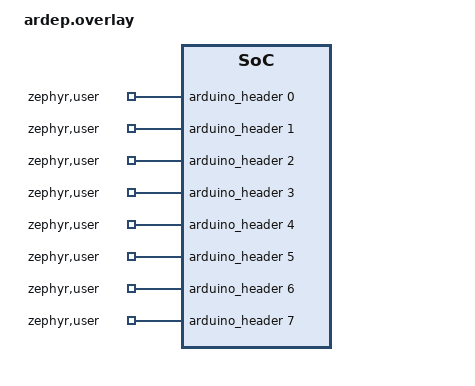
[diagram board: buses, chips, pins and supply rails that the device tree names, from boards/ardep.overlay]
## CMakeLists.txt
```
# SPDX-FileCopyrightText: Copyright (C) Frickly Systems GmbH
# SPDX-FileCopyrightText: Copyright (C) MBition GmbH
#
# SPDX-License-Identifier: Apache-2.0

cmake_minimum_required(VERSION 3.13.1)

find_package(Zephyr REQUIRED HINTS $ENV{ZEPHYR_BASE})
project(gpio_expander)

target_sources(app PRIVATE src/main.c)
```

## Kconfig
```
# Copyright (C) Frickly Systems GmbH
# Copyright (C) MBition GmbH
#
# SPDX-License-Identifier: Apache-2.0



mainmenu "GPIO Exapnder"

config GPIO_EXPANDER_CONFIG_FRAME_ID
	int "frame id for the configuration frame"
	default 1

config GPIO_EXPANDER_WRITE_FRAME_ID
	int "frame id for the write frame"
	default 2

config GPIO_EXPANDER_STATE_FRAME_ID
	int "frame id for the state frame"
	default 3


menu "Zephyr"
source "Kconfig.zephyr"
endmenu

module = APP
module-str = APP
source "subsys/logging/Kconfig.template.log_config"
```

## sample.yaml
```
# Copyright (C) Frickly Systems GmbH
# Copyright (C) MBition GmbH

# This file is provided so that the application can be compiled using Twister,
# the Zephyr testing tool. In this file, multiple combinations can be specified,
# so that you can easily test all of them locally or in CI.
sample:
  description: gpio expander 
  name: gpio-expander
common:
  build_only: true
  integration_platforms:
    - ardep
tests:
  gpio_expander.default: {}
```

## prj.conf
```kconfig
CONFIG_CONSOLE=y

CONFIG_SERIAL=y
CONFIG_UART_CONSOLE=y

CONFIG_CAN=y

CONFIG_LOG=y
CONFIG_APP_LOG_LEVEL_DBG=y
```

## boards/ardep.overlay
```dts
/*
 * SPDX-FileCopyrightText: Copyright (C) Frickly Systems GmbH
 * SPDX-FileCopyrightText: Copyright (C) MBition GmbH
 *
 * SPDX-License-Identifier: Apache-2.0
 */

/ {
    zephyr,user {
        gpios = <&arduino_header 0 GPIO_ACTIVE_HIGH>,
                <&arduino_header 1 GPIO_ACTIVE_HIGH>,
                <&arduino_header 2 GPIO_ACTIVE_HIGH>,
                <&arduino_header 3 GPIO_ACTIVE_HIGH>,
                <&arduino_header 4 GPIO_ACTIVE_HIGH>,
                <&arduino_header 5 GPIO_ACTIVE_HIGH>,
                <&arduino_header 6 GPIO_ACTIVE_HIGH>,
                <&arduino_header 7 GPIO_ACTIVE_HIGH>,
                <&arduino_header 8 GPIO_ACTIVE_HIGH>,
                <&arduino_header 9 GPIO_ACTIVE_HIGH>,
                <&arduino_header 10 GPIO_ACTIVE_HIGH>,
                <&arduino_header 11 GPIO_ACTIVE_HIGH>,
                <&arduino_header 12 GPIO_ACTIVE_HIGH>,
                <&arduino_header 13 GPIO_ACTIVE_HIGH>,
                <&arduino_header 14 GPIO_ACTIVE_HIGH>,
                <&arduino_header 15 GPIO_ACTIVE_HIGH>,
                <&arduino_header 16 GPIO_ACTIVE_HIGH>,
                <&arduino_header 17 GPIO_ACTIVE_HIGH>,
                <&arduino_header 18 GPIO_ACTIVE_HIGH>,
                <&arduino_header 19 GPIO_ACTIVE_HIGH>,
                <&arduino_header 20 GPIO_ACTIVE_HIGH>,
                <&arduino_header 21 GPIO_ACTIVE_HIGH>,
                
                <&gpioe 15 GPIO_ACTIVE_HIGH>, // HV Shield 1
                <&gpioe 14 GPIO_ACTIVE_HIGH>,
                <&gpioe 13 GPIO_ACTIVE_HIGH>,
                <&gpioe 12 GPIO_ACTIVE_HIGH>, // HV 4
                <&gpioe 11 GPIO_ACTIVE_HIGH>, // HV 7
                <&gpioe 10 GPIO_ACTIVE_HIGH>, 
                <&gpioe 9 GPIO_ACTIVE_HIGH>,
                <&gpioe 8 GPIO_ACTIVE_HIGH>,
                <&gpioe 7 GPIO_ACTIVE_HIGH>, 
                <&gpiob 2 GPIO_ACTIVE_HIGH>,
                <&gpiob 1 GPIO_ACTIVE_HIGH>,
                <&gpioc 5 GPIO_ACTIVE_HIGH>, // HV 14
                <&gpioc 4 GPIO_ACTIVE_HIGH>, // HV 17
                <&gpioa 6 GPIO_ACTIVE_HIGH>, // HV 19
                <&gpioa 5 GPIO_ACTIVE_HIGH>,
                <&gpioa 4 GPIO_ACTIVE_HIGH>,
                <&gpioa 2 GPIO_ACTIVE_HIGH>,
                <&gpioa 0 GPIO_ACTIVE_HIGH>,
                <&gpiof 2 GPIO_ACTIVE_HIGH>,
                <&gpioc 2 GPIO_ACTIVE_HIGH>,
                <&gpioc 0 GPIO_ACTIVE_HIGH>, // HV 26
                <&gpiof 10 GPIO_ACTIVE_HIGH>, // HV 29
                <&gpiof 9 GPIO_ACTIVE_HIGH>,
                <&gpioc 15 GPIO_ACTIVE_HIGH>,
                <&gpioc 14 GPIO_ACTIVE_HIGH> // HV 3
                ;
    };
};

&arduino_i2c {
    status = "disabled";
};

&arduino_spi {
    status = "disabled";
};

&arduino_serial {
    status = "disabled";
};

&adc1 {
    status = "disabled";
};

&adc2 {
    status = "disabled";
};

&adc3 {
    status = "disabled";
};

&adc4 {
    status = "disabled";
};

&dac1 {
    status = "disabled";
};

&dac2 {
    status = "disabled";
};
```

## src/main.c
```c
/*
 * SPDX-FileCopyrightText: Copyright (C) Frickly Systems GmbH
 * SPDX-FileCopyrightText: Copyright (C) MBition GmbH
 *
 * SPDX-License-Identifier: Apache-2.0
 */

#include <zephyr/device.h>
#include <zephyr/devicetree.h>
#include <zephyr/drivers/can.h>
#include <zephyr/drivers/gpio.h>
#include <zephyr/kernel.h>
#include <zephyr/logging/log.h>

#define LOG_MODULE_NAME app
LOG_MODULE_REGISTER(LOG_MODULE_NAME, CONFIG_APP_LOG_LEVEL);

#define CANBUS_NODE DT_CHOSEN(zephyr_canbus)

#define GPIO_CONFIG_FRAME_ID CONFIG_GPIO_EXPANDER_CONFIG_FRAME_ID
#define GPIO_STATE_FRAME_ID CONFIG_GPIO_EXPANDER_STATE_FRAME_ID
#define GPIO_WRITE_FRAME_ID CONFIG_GPIO_EXPANDER_WRITE_FRAME_ID

#define ZEPHYR_USER_NODE DT_PATH(zephyr_user)

static const struct gpio_dt_spec gpios[] = {
  // all gpios defined in the zephyr_user node
  DT_FOREACH_PROP_ELEM_SEP(
      ZEPHYR_USER_NODE, gpios, GPIO_DT_SPEC_GET_BY_IDX, (, ))};

static uint8_t config_frame_data[8] = {0};
struct k_work configure_gpios_work;

bool is_gpio_output(int pin) {
  return (config_frame_data[pin / 8] >> (pin % 8)) & 0x01;
}

static uint8_t write_frame_data[8] = {0};
struct k_work write_gpios_work;

int output_level(int pin) {
  return (write_frame_data[pin / 8] >> (pin % 8)) & 0x01;
}

int init_can(const struct device *can_dev) {
  int err;

  if (!device_is_ready(can_dev)) {
    LOG_ERR("CAN device not ready");
    return -ENODEV;
  }

  err = can_start(can_dev);
  if (err != 0) {
    LOG_ERR("Error starting CAN controller (err %d)", err);
    return err;
  }

  return 0;
}

struct k_sem tx_queue_sem;

static void can_tx_callback(const struct device *dev,
                            int error,
                            void *user_data) {
  struct k_sem *tx_queue_sem = user_data;

  k_sem_give(tx_queue_sem);
}

int send_state_update_frame(const struct device *can_dev) {
  struct can_frame frame = {0};

  frame.id = GPIO_STATE_FRAME_ID;

  memset(frame.data, 0, sizeof(frame.data));

  for (int i = 0; i < ARRAY_SIZE(gpios); i++) {
    if (is_gpio_output(i)) {
      frame.data[i / 8] |= (output_level(i) << (i % 8));
    } else {
      int value = gpio_pin_get_dt(&gpios[i]);

      if (value < 0) {
        LOG_ERR("Error reading GPIO pin (err %d)", value);
        return value;
      }

      frame.data[i / 8] |= (value << (i % 8));
    }
  }

  frame.dlc = 8;

  return can_send(can_dev, &frame, K_NO_WAIT, can_tx_callback, &tx_queue_sem);
}

const struct can_filter receive_config_filter = {
  .flags = 0,
  .id = GPIO_CONFIG_FRAME_ID,
  .mask = CAN_STD_ID_MASK,
};

void receive_config_callback(const struct device *dev,
                             struct can_frame *frame,
                             void *user_data) {
  memcpy(config_frame_data, frame->data, frame->dlc);
  k_work_submit(&configure_gpios_work);
}

void configure_gpios(struct k_work *item) {
  LOG_INF("Configuring GPIOs");

  for (int i = 0; i < ARRAY_SIZE(gpios); i++) {
    int err = gpio_pin_configure_dt(
        &gpios[i], (is_gpio_output(i) ? GPIO_OUTPUT : GPIO_INPUT));
    if (err != 0) {
      LOG_ERR("Error configuring GPIO pin (err %d)", err);
      return;
    }
  }
}

const struct can_filter receive_write_filter = {
  .flags = 0,
  .id = GPIO_WRITE_FRAME_ID,
  .mask = CAN_STD_ID_MASK,
};

void receive_write_callback(const struct device *dev,
                            struct can_frame *frame,
                            void *user_data) {
  memcpy(write_frame_data, frame->data, frame->dlc);
  k_work_submit(&write_gpios_work);
}

void write_gpios(struct k_work *item) {
  LOG_INF("Writing GPIOs");

  for (int i = 0; i < ARRAY_SIZE(gpios); i++) {
    if (!is_gpio_output(i)) {
      continue;
    }

    int err = gpio_pin_set_dt(&gpios[i], output_level(i));
    if (err != 0) {
      LOG_ERR("Error writing GPIO pin (err %d)", err);
      return;
    }
  }
}

int configure_receive_filters(const struct device *can_dev) {
  int filter_id;

  filter_id = can_add_rx_filter(can_dev, receive_config_callback, NULL,
                                &receive_config_filter);
  if (filter_id < 0) {
    LOG_ERR("Error adding receive filter (err %d)", filter_id);
    return filter_id;
  }

  filter_id = can_add_rx_filter(can_dev, receive_write_callback, NULL,
                                &receive_write_filter);
  if (filter_id < 0) {
    LOG_ERR("Error adding receive filter (err %d)", filter_id);
    return filter_id;
  }

  return 0;
}

int init(const struct device *can_dev) {
  k_sem_init(&tx_queue_sem, 1, 1);
  k_work_init(&configure_gpios_work, configure_gpios);
  k_work_init(&write_gpios_work, write_gpios);

  configure_gpios(NULL);

  int err;
  err = init_can(can_dev);

  if (err != 0) {
    LOG_ERR("Error initializing CAN controller 1 (err %d)", err);
    return err;
  }

  err = configure_receive_filters(can_dev);

  if (err != 0) {
    LOG_ERR("Error configuring CAN receive filters (err %d)", err);
    return err;
  }

  return 0;
}

int main(void) {
  const struct device *can_dev = DEVICE_DT_GET(CANBUS_NODE);
  int err = init(can_dev);

  if (err != 0) {
    LOG_ERR("Error initializing application (err %d)", err);
  }

  while (1) {
    send_state_update_frame(can_dev);
    k_sleep(K_MSEC(100));
  }
}
```
